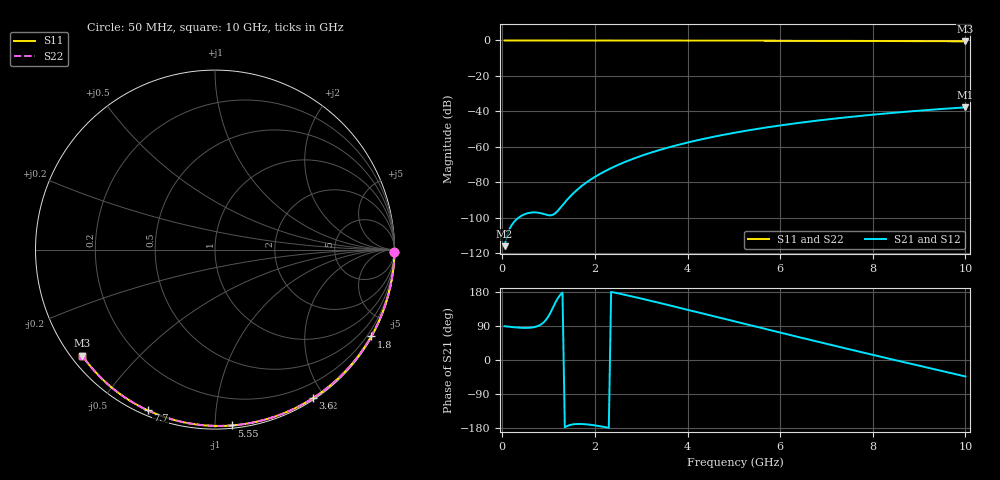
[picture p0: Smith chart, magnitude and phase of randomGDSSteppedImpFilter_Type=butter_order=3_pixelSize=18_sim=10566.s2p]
! freq	dB(S11)	phase(S11)	dB(S12)	phase(S12)
!  dB(S21)	phase(S21)	dB(S22)	phase(S22)
!S-par simulation data
#  GHz  S  DB  R 50
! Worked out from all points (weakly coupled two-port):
!   200 points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, 50 MHz to 10 GHz, reference 50 ohm
!   highest |S21| = -37.69 dB at 10 GHz (marker M1); lowest = -115.9 dB at 50 MHz (marker M2)
!   lowest |S11| = -0.5 dB at 10 GHz (marker M3), VSWR 36.34, Z = 1.54 - j17.5 ohm
!   |S11| at or under -10 dB: nowhere
!   |S22| runs from -0.5 to 0.0 dB; largest |S21 - S12| = 0
!   S11 on the Smith chart (normalised r, x): 50 MHz: open; 1.8 GHz: 0.03, -3.86; 3.6 GHz: 0.02, -1.85; 5.55 GHz: 0.02, -1.10; 7.7 GHz: 0.02, -0.66; 10 GHz: 0.03, -0.35
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0.05  -0.00 -0.8  -115.92 89.2  -115.92 89.2  -0.00 -0.8
0.45  -0.01 -7.4  -98.28 84.7  -98.28 84.7  -0.01 -7.4
0.9  -0.02 -14.7  -97.83 100.2  -97.83 100.2  -0.02 -14.7
1.3  -0.03 -21.1  -92.85 178.0  -92.85 178.0  -0.03 -21.1
1.75  -0.04 -28.3  -81.29 -169.2  -81.29 -169.2  -0.04 -28.3
1.8  -0.04 -29.1  -80.32 -169.6  -80.32 -169.6  -0.04 -29.1
1.85  -0.04 -29.8  -79.40 -170.2  -79.40 -170.2  -0.04 -29.8
2.05  -0.04 -33.0  -76.08 -173.5  -76.08 -173.5  -0.04 -33.0
2.2  -0.04 -35.3  -73.91 -176.7  -73.91 -176.7  -0.04 -35.3
2.55  -0.05 -40.8  -69.55 174.6  -69.55 174.6  -0.05 -40.8
2.95  -0.06 -46.9  -65.48 163.5  -65.48 163.5  -0.06 -46.9
3.4  -0.07 -53.7  -61.69 150.5  -61.69 150.5  -0.07 -53.7
3.6  -0.08 -56.7  -60.20 144.5  -60.20 144.5  -0.08 -56.7
4.3  -0.09 -67.0  -55.72 123.5  -55.72 123.5  -0.09 -67.0
5.05  -0.12 -77.6  -51.84 100.9  -51.84 100.9  -0.12 -77.6
5.55  -0.14 -84.5  -49.65 85.8  -49.65 85.8  -0.14 -84.5
6.1  -0.16 -92.0  -47.52 69.4  -47.52 69.4  -0.16 -92.0
6.7  -0.19 -99.9  -45.48 51.6  -45.48 51.6  -0.19 -99.9
7.7  -0.26 -112.8  -42.59 22.3  -42.59 22.3  -0.26 -112.8
8.35  -0.31 -120.9  -40.99 3.5  -40.99 3.5  -0.31 -120.9
9.2  -0.39 -131.5  -39.16 -20.7  -39.16 -20.7  -0.39 -131.5
10  -0.48 -141.4  -37.69 -43.4  -37.69 -43.4  -0.48 -141.4
